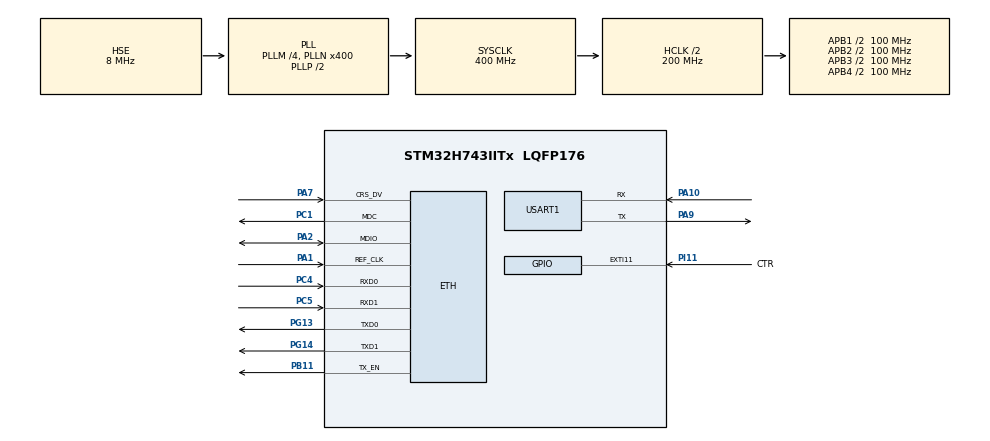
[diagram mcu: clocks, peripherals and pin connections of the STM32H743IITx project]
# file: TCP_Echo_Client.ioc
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CORTEX_M7.CPU_DCache=Enabled
CORTEX_M7.CPU_ICache=Enabled
ETH.MediaInterface=HAL_ETH_RMII_MODE
LWIP.BSP.number=1
LWIP.GATEWAY_ADDRESS=192.168.001.001
LWIP.IP_ADDRESS=192.168.001.110
LWIP.LWIP_DHCP=0
LWIP.LWIP_NETIF_LINK_CALLBACK=1
LWIP.NETMASK_ADDRESS=255.255.255.000
LWIP.TCP_QUEUE_OOSEQ=0
LWIP.Version=v2.0.3_Cube
LWIP0.BSP.STBoard=false
LWIP0.BSP.api=BSP_COMPONENT_DRIVER
LWIP0.BSP.component=LAN8742
LWIP0.BSP.i2caddr=0
LWIP0.BSP.instance=LAN8742
LWIP0.BSP.name=Driver_PHY
LWIP0.BSP.solution=LAN8742
Mcu.Family=STM32H7
Mcu.Name=STM32H743IITx
Mcu.Package=LQFP176
Mcu.UserConstants=DEST_IP_ADDR0,192;DEST_IP_ADDR1,168;DEST_IP_ADDR2,1;DEST_IP_ADDR3,206;DEST_PORT,7
NVIC.ETH_IRQn=true\:0\:0\:false\:false\:true\:true
NVIC.EXTI15_10_IRQn=true\:0\:0\:false\:false\:true\:true
NVIC.PriorityGroup=NVIC_PRIORITYGROUP_4
PA1.GPIO_Speed=GPIO_SPEED_FREQ_VERY_HIGH
PA1.Mode=RMII
PA1.Signal=ETH_REF_CLK
PA10.Mode=Asynchronous
PA10.Signal=USART1_RX
PA13\ (JTMS/SWDIO).Mode=JTAG_5_pins
PA13\ (JTMS/SWDIO).Signal=SYS_JTMS-SWDIO
PA14\ (JTCK/SWCLK).Mode=JTAG_5_pins
PA14\ (JTCK/SWCLK).Signal=SYS_JTCK-SWCLK
PA15\ (JTDI).Mode=JTAG_5_pins
PA15\ (JTDI).Signal=SYS_JTDI
PA2.GPIO_Speed=GPIO_SPEED_FREQ_VERY_HIGH
PA2.Mode=RMII
PA2.Signal=ETH_MDIO
PA7.GPIO_Speed=GPIO_SPEED_FREQ_VERY_HIGH
PA7.Mode=RMII
PA7.Signal=ETH_CRS_DV
PA9.Mode=Asynchronous
PA9.Signal=USART1_TX
PB11.GPIO_Speed=GPIO_SPEED_FREQ_VERY_HIGH
PB11.Mode=RMII
PB11.Signal=ETH_TX_EN
PB3\ (JTDO/TRACESWO).Mode=JTAG_5_pins
PB3\ (JTDO/TRACESWO).Signal=SYS_JTDO-SWO
PB4\ (NJTRST).Mode=JTAG_5_pins
PB4\ (NJTRST).Signal=SYS_JTRST
PC1.Mode=RMII
PC1.Signal=ETH_MDC
PC4.GPIO_Speed=GPIO_SPEED_FREQ_VERY_HIGH
PC4.Mode=RMII
PC4.Signal=ETH_RXD0
PC5.GPIO_Speed=GPIO_SPEED_FREQ_VERY_HIGH
PC5.Mode=RMII
PC5.Signal=ETH_RXD1
PG13.GPIO_Speed=GPIO_SPEED_FREQ_VERY_HIGH
PG13.Mode=RMII
PG13.Signal=ETH_TXD0
PG14.GPIO_Speed=GPIO_SPEED_FREQ_VERY_HIGH
PG14.Mode=RMII
PG14.Signal=ETH_TXD1
PH0-OSC_IN\ (PH0).Mode=HSE-External-Oscillator
PH0-OSC_IN\ (PH0).Signal=RCC_OSC_IN
PH1-OSC_OUT\ (PH1).Mode=HSE-External-Oscillator
PH1-OSC_OUT\ (PH1).Signal=RCC_OSC_OUT
PI11.GPIO_Label=CTR
PI11.GPIO_ModeDefaultEXTI=GPIO_MODE_IT_FALLING
PI11.Signal=GPXTI11
ProjectManager.HeapSize=0x200
ProjectManager.StackSize=0x400
ProjectManager.TargetToolchain=MDK-ARM V5
RCC.ADCFreq_Value=16125000
RCC.APB1Freq_Value=100000000
RCC.APB2Freq_Value=100000000
RCC.APB3Freq_Value=100000000
RCC.APB4Freq_Value=100000000
RCC.CortexFreq_Value=400000000
RCC.D1PPRE=RCC_APB3_DIV2
RCC.D2PPRE1=RCC_APB1_DIV2
RCC.D2PPRE2=RCC_APB2_DIV2
RCC.D3PPRE=RCC_APB4_DIV2
RCC.DIVM1=4
RCC.DIVN1=400
RCC.HCLKFreq_Value=200000000
RCC.HPRE=RCC_HCLK_DIV2
RCC.HSE_VALUE=8000000
RCC.PLLSourceVirtual=RCC_PLLSOURCE_HSE
RCC.SYSCLKFreq_VALUE=400000000
RCC.SYSCLKSource=RCC_SYSCLKSOURCE_PLLCLK
RCC.USBFreq_Value=400000000
USART1.VirtualMode-Asynchronous=VM_ASYNC
VP_LWIP_VS_Enabled.Mode=Enabled
board=custom

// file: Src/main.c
/* USER CODE BEGIN Header */
/**
  ******************************************************************************
  * @file           : main.c
  * @brief          : Main program body
  ******************************************************************************
  * This notice applies to any and all portions of this file
  * that are not between comment pairs USER CODE BEGIN and
  * USER CODE END. Other portions of this file, whether
  * inserted by the user or by software development tools
  * are owned by their respective copyright owners.
  *
  * Copyright (c) 2019 STMicroelectronics International N.V.
  * All rights reserved.
  *
  * Redistribution and use in source and binary forms, with or without
  * modification, are permitted, provided that the following conditions are met:
  *
  * 1. Redistribution of source code must retain the above copyright notice,
  *    this list of conditions and the following disclaimer.
  * 2. Redistributions in binary form must reproduce the above copyright notice,
  *    this list of conditions and the following disclaimer in the documentation
  *    and/or other materials provided with the distribution.
  * 3. Neither the name of STMicroelectronics nor the names of other
  *    contributors to this software may be used to endorse or promote products
  *    derived from this software without specific written permission.
  * 4. This software, including modifications and/or derivative works of this
  *    software, must execute solely and exclusively on microcontroller or
  *    microprocessor devices manufactured by or for STMicroelectronics.
  * 5. Redistribution and use of this software other than as permitted under
  *    this license is void and will automatically terminate your rights under
  *    this license.
  *
  * THIS SOFTWARE IS PROVIDED BY STMICROELECTRONICS AND CONTRIBUTORS "AS IS"
  * AND ANY EXPRESS, IMPLIED OR STATUTORY WARRANTIES, INCLUDING, BUT NOT
  * LIMITED TO, THE IMPLIED WARRANTIES OF MERCHANTABILITY, FITNESS FOR A
  * PARTICULAR PURPOSE AND NON-INFRINGEMENT OF THIRD PARTY INTELLECTUAL PROPERTY
  * RIGHTS ARE DISCLAIMED TO THE FULLEST EXTENT PERMITTED BY LAW. IN NO EVENT
  * SHALL STMICROELECTRONICS OR CONTRIBUTORS BE LIABLE FOR ANY DIRECT, INDIRECT,
  * INCIDENTAL, SPECIAL, EXEMPLARY, OR CONSEQUENTIAL DAMAGES (INCLUDING, BUT NOT
  * LIMITED TO, PROCUREMENT OF SUBSTITUTE GOODS OR SERVICES; LOSS OF USE, DATA,
  * OR PROFITS; OR BUSINESS INTERRUPTION) HOWEVER CAUSED AND ON ANY THEORY OF
  * LIABILITY, WHETHER IN CONTRACT, STRICT LIABILITY, OR TORT (INCLUDING
  * NEGLIGENCE OR OTHERWISE) ARISING IN ANY WAY OUT OF THE USE OF THIS SOFTWARE,
  * EVEN IF ADVISED OF THE POSSIBILITY OF SUCH DAMAGE.
  *
  ******************************************************************************
  */
/* USER CODE END Header */

#include "main.h"
#include "lwip.h"
#include "usart.h"
#include "gpio.h"

/* USER CODE BEGIN Includes */
#include "tcp_echoserver.h"

/* USER CODE END Includes */

void SystemClock_Config(void);

/* USER CODE BEGIN 0 */

static void MPU_Config(void)
{
  MPU_Region_InitTypeDef MPU_InitStruct;

  /* Disable the MPU */
  HAL_MPU_Disable();

  /* Configure the MPU attributes as Device not cacheable
     for ETH DMA descriptors */
  MPU_InitStruct.Enable = MPU_REGION_ENABLE;
  MPU_InitStruct.BaseAddress = 0x30040000;
  MPU_InitStruct.Size = MPU_REGION_SIZE_256B;
  MPU_InitStruct.AccessPermission = MPU_REGION_FULL_ACCESS;
  MPU_InitStruct.IsBufferable = MPU_ACCESS_BUFFERABLE;
  MPU_InitStruct.IsCacheable = MPU_ACCESS_NOT_CACHEABLE;
  MPU_InitStruct.IsShareable = MPU_ACCESS_NOT_SHAREABLE;
  MPU_InitStruct.Number = MPU_REGION_NUMBER0;
  MPU_InitStruct.TypeExtField = MPU_TEX_LEVEL0;
  MPU_InitStruct.SubRegionDisable = 0x00;
  MPU_InitStruct.DisableExec = MPU_INSTRUCTION_ACCESS_ENABLE;

  HAL_MPU_ConfigRegion(&MPU_InitStruct);

  /* Configure the MPU attributes as Cacheable write through
     for LwIP RAM heap which contains the Tx buffers */
  MPU_InitStruct.Enable = MPU_REGION_ENABLE;
  MPU_InitStruct.BaseAddress = 0x30044000;
  MPU_InitStruct.Size = MPU_REGION_SIZE_16KB;
  MPU_InitStruct.AccessPermission = MPU_REGION_FULL_ACCESS;
  MPU_InitStruct.IsBufferable = MPU_ACCESS_NOT_BUFFERABLE;
  MPU_InitStruct.IsCacheable = MPU_ACCESS_CACHEABLE;
  MPU_InitStruct.IsShareable = MPU_ACCESS_NOT_SHAREABLE;
  MPU_InitStruct.Number = MPU_REGION_NUMBER1;
  MPU_InitStruct.TypeExtField = MPU_TEX_LEVEL0;
  MPU_InitStruct.SubRegionDisable = 0x00;
  MPU_InitStruct.DisableExec = MPU_INSTRUCTION_ACCESS_ENABLE;

  HAL_MPU_ConfigRegion(&MPU_InitStruct);

  /* Enable the MPU */
  HAL_MPU_Enable(MPU_PRIVILEGED_DEFAULT);
}
/* USER CODE END 0 */

int main(void)
{
  /* USER CODE BEGIN 1 */
	MPU_Config();

  /* USER CODE END 1 */

  /* Enable I-Cache---------------------------------------------------------*/
  SCB_EnableICache();

  /* Enable D-Cache---------------------------------------------------------*/
  SCB_EnableDCache();

  /* MCU Configuration--------------------------------------------------------*/

  /* Reset of all peripherals, Initializes the Flash interface and the Systick. */
  HAL_Init();

  /* Configure the system clock */
  SystemClock_Config();

  /* USER CODE BEGIN SysInit */
	__HAL_RCC_D2SRAM3_CLK_ENABLE();
  /* USER CODE END SysInit */

  /* Initialize all configured peripherals */
  MX_GPIO_Init();
  MX_USART1_UART_Init();
  MX_LWIP_Init();
  /* USER CODE BEGIN 2 */
	printf("ETH LwIP TCP_Server DP83848 Test  \r\n");
  tcp_echoserver_init();
  /* USER CODE END 2 */

	{
		extern struct netif gnetif;

		u32_t local_IP = gnetif.ip_addr.addr;

		printf("IP %d.%d.%d.%d\n\r",(local_IP & 0xff), ((local_IP >> 8) & 0xff), ((local_IP >> 16) & 0xff), (local_IP >> 24));
	}

  /* Infinite loop */
  while (1)
  {

    /* USER CODE BEGIN 3 */
		MX_LWIP_Process();
  }
  /* USER CODE END 3 */
}

void SystemClock_Config(void)
{
  RCC_OscInitTypeDef RCC_OscInitStruct = {0};
  RCC_ClkInitTypeDef RCC_ClkInitStruct = {0};
  RCC_PeriphCLKInitTypeDef PeriphClkInitStruct = {0};

  /**Supply configuration update enable
  */
  MODIFY_REG(PWR->CR3, PWR_CR3_SCUEN, 0);
  /**Configure the main internal regulator output voltage
  */
  __HAL_PWR_VOLTAGESCALING_CONFIG(PWR_REGULATOR_VOLTAGE_SCALE1);

  while ((PWR->D3CR & (PWR_D3CR_VOSRDY)) != PWR_D3CR_VOSRDY)
  {

  }
  /**Initializes the CPU, AHB and APB busses clocks
  */
  RCC_OscInitStruct.OscillatorType = RCC_OSCILLATORTYPE_HSE;
  RCC_OscInitStruct.HSEState = RCC_HSE_ON;
  RCC_OscInitStruct.PLL.PLLState = RCC_PLL_ON;
  RCC_OscInitStruct.PLL.PLLSource = RCC_PLLSOURCE_HSE;
  RCC_OscInitStruct.PLL.PLLM = 4;
  RCC_OscInitStruct.PLL.PLLN = 400;
  RCC_OscInitStruct.PLL.PLLP = 2;
  RCC_OscInitStruct.PLL.PLLQ = 2;
  RCC_OscInitStruct.PLL.PLLR = 2;
  RCC_OscInitStruct.PLL.PLLRGE = RCC_PLL1VCIRANGE_1;
  RCC_OscInitStruct.PLL.PLLVCOSEL = RCC_PLL1VCOWIDE;
  RCC_OscInitStruct.PLL.PLLFRACN = 0;
  if (HAL_RCC_OscConfig(&RCC_OscInitStruct) != HAL_OK)
  {
    Error_Handler();
  }
  /**Initializes the CPU, AHB and APB busses clocks
  */
  RCC_ClkInitStruct.ClockType = RCC_CLOCKTYPE_HCLK|RCC_CLOCKTYPE_SYSCLK
                              |RCC_CLOCKTYPE_PCLK1|RCC_CLOCKTYPE_PCLK2
                              |RCC_CLOCKTYPE_D3PCLK1|RCC_CLOCKTYPE_D1PCLK1;
  RCC_ClkInitStruct.SYSCLKSource = RCC_SYSCLKSOURCE_PLLCLK;
  RCC_ClkInitStruct.SYSCLKDivider = RCC_SYSCLK_DIV1;
  RCC_ClkInitStruct.AHBCLKDivider = RCC_HCLK_DIV2;
  RCC_ClkInitStruct.APB3CLKDivider = RCC_APB3_DIV2;
  RCC_ClkInitStruct.APB1CLKDivider = RCC_APB1_DIV2;
  RCC_ClkInitStruct.APB2CLKDivider = RCC_APB2_DIV2;
  RCC_ClkInitStruct.APB4CLKDivider = RCC_APB4_DIV2;

  if (HAL_RCC_ClockConfig(&RCC_ClkInitStruct, FLASH_LATENCY_2) != HAL_OK)
  {
    Error_Handler();
  }
  PeriphClkInitStruct.PeriphClockSelection = RCC_PERIPHCLK_USART1;
  PeriphClkInitStruct.Usart16ClockSelection = RCC_USART16CLKSOURCE_D2PCLK2;
  if (HAL_RCCEx_PeriphCLKConfig(&PeriphClkInitStruct) != HAL_OK)
  {
    Error_Handler();
  }
}

void Error_Handler(void)
{
  /* USER CODE BEGIN Error_Handler_Debug */
  /* User can add his own implementation to report the HAL error return state */
	printf("Error_Handler\r\n");
  /* USER CODE END Error_Handler_Debug */
}

/************************ (C) COPYRIGHT STMicroelectronics *****END OF FILE****/
